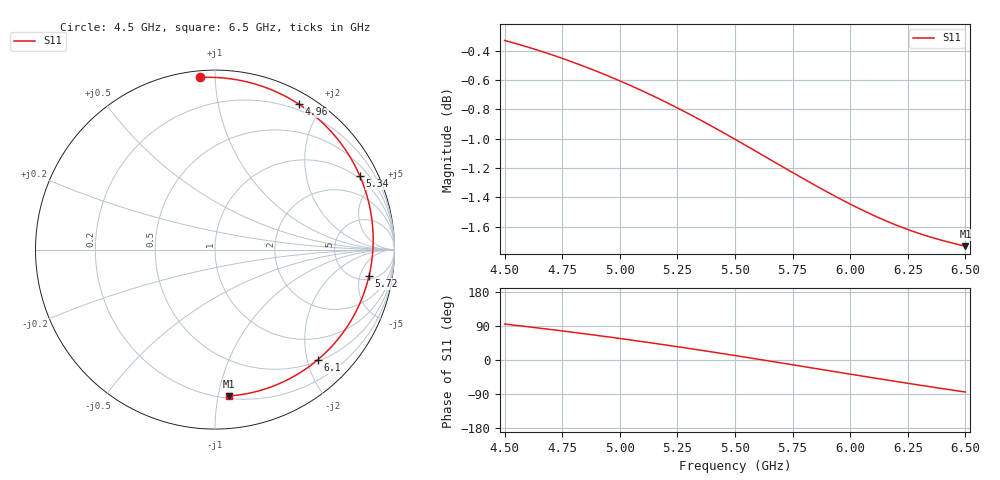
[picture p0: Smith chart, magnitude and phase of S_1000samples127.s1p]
! TOUCHSTONE file generated by CST MICROWAVE STUDIO
! Date and time: Thu Oct 27 02:20:18 2022
! Project name: L.cst
! Parameters = {Di=1.27; Epsilon_r=1.56; InnerDiameter=1.27; Length=2; Lf=10; Lg=60; OuterConductorThickness=0.2921; OuterDiameter=3.6; Wf=3; Wp=41.2; de=1.5; df=6.8; g=0.8; gx=2.6854; gy=4.00083; h=2.34; hf=1.524; px=8.79904; py=11.3899; w=9.7; wx=6.11364; wy=7.38911}
! Header version: 2018
! Port assignment regex: !\s*Touchstone port\s*([0-9]+)\s*=\s*(CST MWS port|CST DS port)\s*([0-9]+|Zmin|Zmax)\s*\(\"(.*)\"\)(\s*mode\s*([0-9]+))?.*
! Touchstone port assignment:
! Touchstone port 1 = CST MWS port 1 ("")
# GHz S DB R 50
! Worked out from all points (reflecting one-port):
!   101 points, 4.5 GHz to 6.5 GHz, reference 50 ohm
!   lowest |S11| = -1.7 dB at 6.5 GHz (marker M1), VSWR 10.06, Z = 10.9 - j53.8 ohm
!   phase of S11 starts at 95 deg and turns -179 deg over the sweep
!   S11 on the Smith chart (normalised r, x): 4.5 GHz: 0.04, +0.92; 4.96 GHz: 0.13, +1.72; 5.34 GHz: 0.88, +4.00; 5.72 GHz: 5.85, -7.06; 6.1 GHz: 0.53, -2.19; 6.5 GHz: 0.22, -1.08
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4.5  -0.33 94.9
4.58  -0.37 89.2
4.64  -0.39 84.9
4.76  -0.46 75.9
4.86  -0.52 68.1
4.96  -0.58 60.1
5  -0.61 56.8
5.12  -0.69 46.6
5.18  -0.74 41.3
5.26  -0.80 34.2
5.34  -0.86 26.9
5.42  -0.93 19.4
5.5  -1.00 11.8
5.56  -1.06 6.0
5.62  -1.11 0.2
5.72  -1.20 -9.6
5.76  -1.24 -13.6
5.82  -1.29 -19.5
5.88  -1.35 -25.5
5.94  -1.40 -31.4
6  -1.45 -37.3
6.1  -1.52 -47.1
6.18  -1.58 -54.8
6.26  -1.62 -62.4
6.32  -1.66 -68.0
6.38  -1.68 -73.6
6.44  -1.71 -79.1
6.5  -1.73 -84.5
